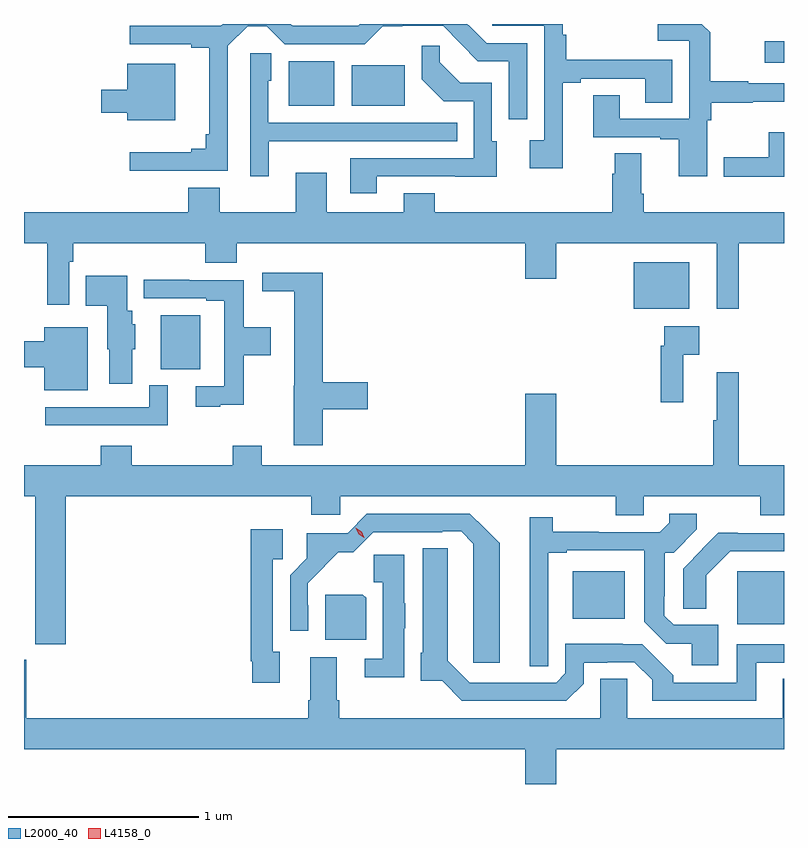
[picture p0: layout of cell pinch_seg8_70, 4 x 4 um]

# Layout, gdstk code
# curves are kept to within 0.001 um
import gdstk
lib = gdstk.Library(unit=1e-6, precision=1e-09)
def R(c, l, rs):  # rectangles x0, y0, x1, y1
    for r in rs: c.add(gdstk.rectangle(r[:2], r[2:], *l))
def P(c, l, *ps):  # polygons
    for p in ps: c.add(gdstk.Polygon(p, *l))
L2000_40 = (2000, 40)
L4158_0 = (4158, 0)

pinch_seg8_70 = lib.new_cell('pinch_seg8_70')
R(pinch_seg8_70, L2000_40, [(885.404,1091.852,885.65,1092.13), (884.537,1091.879,884.812,1092.13), (882.371,1093.193,882.577,1093.477), (884.858,1093.511,885.151,1093.756), (883.043,1094.579,883.282,1094.815), (883.376,1094.579,883.654,1094.794), (885.549,1094.805,885.65,1094.92)])
P(pinch_seg8_70, L2000_40, [(884.485,1094.701),(884.581,1094.701),(884.581,1094.721),(884.921,1094.721),(884.921,1094.596),(885.061,1094.596),(885.061,1094.822),(884.504,1094.822),(884.504,1094.954),(884.486,1094.954),(884.486,1095.01),(884.115,1095.01),(884.115,1095),(884.388,1095),(884.388,1094.398),(884.313,1094.398),(884.313,1094.25),(884.485,1094.25)],
  [(885.246,1094.504),(885.266,1094.504),(885.266,1094.596),(885.485,1094.596),(885.485,1094.6),(885.65,1094.6),(885.65,1094.697),(885.461,1094.697),(885.461,1094.71),(885.261,1094.71),(885.261,1094.967),(885.218,1095.01),(884.985,1095.01),(884.985,1094.922),(885.15,1094.922),(885.15,1094.511),(884.785,1094.511),(884.785,1094.636),(884.645,1094.636),(884.645,1094.415),(884.999,1094.415),(884.999,1094.403),(885.095,1094.403),(885.095,1094.208),(885.246,1094.208)],
  [(882.419,1094.238),(882.723,1094.238),(882.723,1094.895),(882.827,1094.999),(882.928,1094.999),(883.023,1094.904),(883.443,1094.904),(883.538,1094.999),(883.857,1095),(883.947,1094.91),(883.945,1094.908),(884.039,1094.814),(884.202,1094.814),(884.202,1094.508),(884.298,1094.508),(884.298,1094.91),(884.085,1094.91),(883.994,1095.001),(883.993,1095),(883.983,1095.01),(883.417,1095.01),(883.409,1095.002),(883.304,1095.002),(883.304,1095),(883.065,1095),(883.055,1095.01),(882.696,1095.01),(882.686,1095),(882.453,1095),(882.453,1095.002),(882.207,1095.002),(882.207,1094.904),(882.53,1094.904),(882.53,1094.884),(882.626,1094.884),(882.626,1094.431),(882.607,1094.431),(882.607,1094.354),(882.53,1094.354),(882.53,1094.335),(882.207,1094.335),(882.207,1094.237)],
  [(883.507,1094.208),(884.137,1094.207),(884.137,1094.394),(884.112,1094.394),(884.112,1094.7),(883.946,1094.7),(883.838,1094.808),(883.838,1094.896),(883.743,1094.896),(883.743,1094.72),(883.859,1094.604),(884.016,1094.604),(884.016,1094.304),(883.367,1094.304),(883.367,1094.118),(883.507,1094.118)],
  [(882.937,1094.393),(883.271,1094.393),(883.271,1094.394),(883.931,1094.394),(883.931,1094.49),(882.936,1094.49),(882.936,1094.712),(882.952,1094.712),(882.952,1094.855),(882.84,1094.855),(882.84,1094.208),(882.937,1094.208)],
  [(882.445,1094.8),(882.194,1094.8),(882.194,1094.665),(882.057,1094.665),(882.057,1094.543),(882.194,1094.543),(882.194,1094.504),(882.445,1094.504)],
  [(885.65,1094.44),(885.57,1094.44),(885.57,1094.309),(885.333,1094.309),(885.333,1094.207),(885.65,1094.207)],
  [(885.413,1093.856),(885.65,1093.856),(885.65,1094.02),(884.912,1094.02),(884.912,1094.116),(884.899,1094.116),(884.899,1094.33),(884.759,1094.33),(884.759,1094.222),(884.747,1094.222),(884.747,1094.02),(883.813,1094.02),(883.813,1094.119),(883.649,1094.119),(883.649,1094.02),(883.243,1094.02),(883.243,1094.227),(883.079,1094.227),(883.079,1094.02),(882.679,1094.02),(882.679,1094.149),(882.515,1094.149),(882.515,1094.02),(881.65,1094.02),(881.65,1093.856),(881.773,1093.856),(881.773,1093.533),(881.889,1093.533),(881.889,1093.76),(881.909,1093.76),(881.909,1093.856),(882.605,1093.856),(882.605,1093.754),(882.77,1093.754),(882.77,1093.856),(884.288,1093.856),(884.288,1093.668),(884.452,1093.668),(884.452,1093.856),(885.296,1093.856),(885.296,1093.512),(885.413,1093.512)],
  [(883.223,1092.982),(883.459,1092.982),(883.459,1093.124),(883.223,1093.124),(883.223,1093.702),(882.903,1093.702),(882.903,1093.604),(883.073,1093.604),(883.073,1093.107),(883.07,1093.107),(883.07,1092.792),(883.223,1092.792)],
  [(882.22,1093.299),(882.235,1093.299),(882.235,1093.431),(882.22,1093.431),(882.22,1093.5),(882.193,1093.5),(882.193,1093.684),(881.974,1093.684),(881.974,1093.526),(882.089,1093.526),(882.089,1093.299),(882.098,1093.299),(882.098,1093.116),(882.22,1093.116)],
  [(882.683,1093.007),(882.806,1093.007),(882.806,1093.267),(882.949,1093.267),(882.949,1093.414),(882.806,1093.414),(882.806,1093.662),(882.521,1093.662),(882.521,1093.664),(882.279,1093.664),(882.279,1093.566),(882.608,1093.566),(882.608,1093.554),(882.705,1093.554),(882.705,1093.104),(882.555,1093.104),(882.555,1092.996),(882.683,1092.996)],
  [(885.119,1093.268),(885.205,1093.268),(885.205,1093.42),(885.021,1093.42),(885.021,1093.316),(885.001,1093.316),(885.001,1093.02),(885.119,1093.02)],
  [(881.986,1093.414),(881.756,1093.414),(881.756,1093.34),(881.65,1093.34),(881.65,1093.204),(881.756,1093.204),(881.756,1093.082),(881.986,1093.082)],
  [(881.87,1092.524),(883.163,1092.524),(883.163,1092.426),(883.314,1092.426),(883.314,1092.524),(884.764,1092.524),(884.764,1092.425),(884.911,1092.425),(884.911,1092.524),(885.526,1092.524),(885.526,1092.425),(885.65,1092.425),(885.65,1092.688),(885.413,1092.688),(885.413,1093.177),(885.296,1093.177),(885.296,1092.924),(885.277,1092.924),(885.277,1092.688),(884.452,1092.688),(884.452,1093.063),(884.288,1093.063),(884.288,1092.688),(882.901,1092.688),(882.901,1092.79),(882.749,1092.79),(882.749,1092.688),(882.218,1092.688),(882.218,1092.79),(882.053,1092.79),(882.053,1092.688),(881.65,1092.688),(881.65,1092.524),(881.71,1092.524),(881.71,1091.745),(881.87,1091.745)],
  [(882.406,1093.108),(882.309,1093.108),(882.309,1092.993),(881.763,1092.993),(881.763,1092.897),(882.406,1092.897)],
  [(884.155,1092.279),(884.152,1092.279),(884.075,1092.356),(884.074,1092.355),(883.996,1092.432),(883.455,1092.432),(883.353,1092.33),(883.139,1092.33),(883.139,1092.198),(883.05,1092.109),(883.05,1091.817),(883.146,1091.817),(883.146,1091.951),(883.143,1091.951),(883.143,1092.066),(883.232,1092.155),(883.23,1092.157),(883.303,1092.23),(883.382,1092.23),(883.488,1092.336),(883.85,1092.336),(883.85,1092.339),(883.95,1092.339),(884.015,1092.275),(884.015,1091.649),(884.155,1091.649)],
  [(884.409,1092.228),(884.506,1092.228),(884.506,1092.24),(884.915,1092.24),(884.915,1091.863),(885.03,1091.748),(885.164,1091.748),(885.164,1091.634),(885.304,1091.634),(885.304,1091.847),(885.069,1091.847),(885.021,1091.895),(885.022,1092.228),(885.069,1092.228),(885.192,1092.351),(885.192,1092.432),(885.045,1092.432),(885.045,1092.385),(884.996,1092.336),(884.675,1092.336),(884.675,1092.338),(884.433,1092.338),(884.433,1092.415),(884.312,1092.415),(884.312,1091.629),(884.409,1091.629)],
  [(882.997,1091.705),(882.96,1091.705),(882.96,1092.192),(883.013,1092.192),(883.013,1092.352),(882.843,1092.352),(882.843,1092.045),(882.844,1092.045),(882.844,1091.656),(882.852,1091.656),(882.852,1091.544),(882.997,1091.544)],
  [(885.24,1092.108),(885.366,1092.234),(885.65,1092.234),(885.65,1092.33),(885.406,1092.33),(885.406,1092.332),(885.305,1092.332),(885.119,1092.144),(885.12,1091.933),(885.24,1091.933)],
  [(884.595,1091.538),(884.595,1091.649),(884.72,1091.649),(884.72,1091.652),(884.862,1091.652),(884.957,1091.558),(884.957,1091.448),(885.505,1091.448),(885.505,1091.649),(885.65,1091.649),(885.65,1091.745),(885.401,1091.745),(885.401,1091.544),(885.066,1091.544),(885.066,1091.583),(884.904,1091.745),(884.801,1091.745),(884.801,1091.747),(884.499,1091.747),(884.499,1091.592),(884.451,1091.544),(883.995,1091.544),(883.879,1091.66),(883.879,1092.251),(883.748,1092.251),(883.748,1091.7),(883.739,1091.7),(883.739,1091.553),(883.85,1091.553),(883.955,1091.448),(884.505,1091.448)],
  [(883.651,1091.829),(883.657,1091.829),(883.657,1091.961),(883.651,1091.961),(883.651,1092.217),(883.49,1092.217),(883.49,1092.072),(883.538,1092.072),(883.538,1091.67),(883.443,1091.67),(883.443,1091.573),(883.651,1091.573)],
  [(883.45,1091.991),(883.434,1092.007),(883.235,1092.007),(883.235,1091.768),(883.45,1091.768)],
  [(884.452,1091.192),(885.65,1091.192),(885.65,1091.564),(885.644,1091.564),(885.644,1091.356),(884.824,1091.356),(884.824,1091.564),(884.684,1091.564),(884.684,1091.356),(883.31,1091.356),(883.31,1091.452),(883.297,1091.452),(883.297,1091.677),(883.157,1091.677),(883.157,1091.452),(883.145,1091.452),(883.145,1091.356),(881.662,1091.356),(881.662,1091.665),(881.65,1091.665),(881.65,1091.192),(884.288,1091.192),(884.288,1091.01),(884.452,1091.01)])
P(pinch_seg8_70, L4158_0, [(883.442,1092.305),(883.412,1092.325),(883.397,1092.358),(883.397,1092.358),(883.397,1092.358),(883.427,1092.338),(883.442,1092.306),(883.442,1092.305)])

lib.write_gds('pinch_seg8_70.gds')
